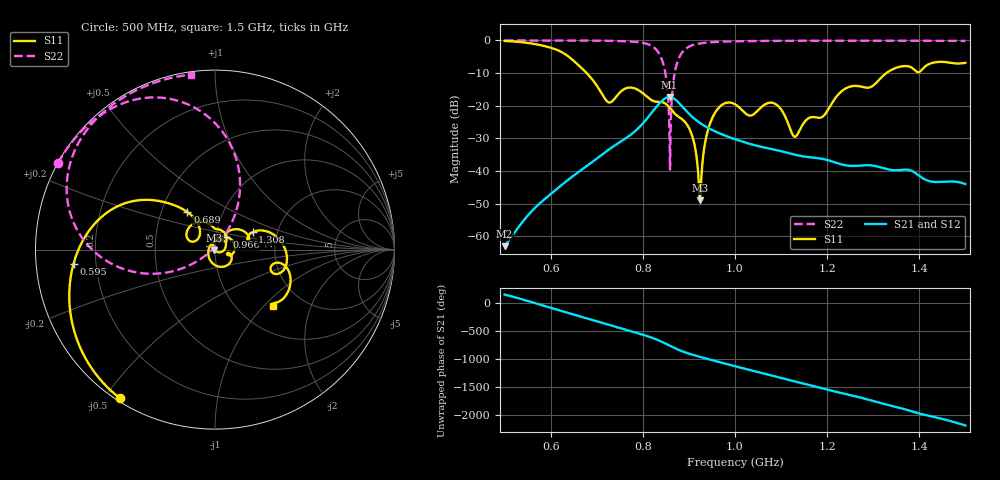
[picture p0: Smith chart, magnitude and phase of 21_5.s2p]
! TOUCHSTONE file generated by CST MICROWAVE STUDIO
! Date and time: Fri Oct  2 19:12:55 2020
! Project name: Scenario_1_Free_Space_out_of_line.cst
! Parameters = {Lambda=346.42; Step_1=17.321; dy1=0.82; dx1=866; L_HA=400; MT=2.54; Rad_Dielectric=30; Rad_Lower=7.3; Rad_Upper=30; a_HA=580; a_WG=246; b_HA=500; b_WG=121; c_HA=0; c_WG=187; d_feed=85; h_feed=15; h_lower=18; h_upper=40}
! Header version: 2018
! Port assignment regex: !\s*Touchstone port\s*([0-9]+)\s*=\s*(CST MWS port|CST DS port)\s*([0-9]+|Zmin|Zmax)\s*\(\"(.*)\"\)(\s*mode\s*([0-9]+))?.*
! Touchstone port assignment:
! Touchstone port 1 = CST MWS port 1 ("")
! Touchstone port 2 = CST MWS port 2 ("")
# GHz S DB R 50
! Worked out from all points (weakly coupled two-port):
!   1003 points, 500 MHz to 1.5 GHz, reference 50 ohm
!   highest |S21| = -17.34 dB at 858 MHz (marker M1); lowest = -63.0 dB at 500 MHz (marker M2)
!   lowest |S11| = -49.0 dB at 924 MHz (marker M3), VSWR 1.01, Z = 49.7 - j0.2 ohm
!   |S11| at or under -10 dB: 678.1 MHz to 1.329 GHz (650.4 MHz wide, 64.8 % of centre)
!   |S22| runs from -39.5 to 0.0 dB; largest |S21 - S12| = 1.4e-05
!   S11 on the Smith chart (normalised r, x): 500 MHz: 0.01, -0.55; 595 MHz: 0.12, -0.05; 689 MHz: 0.68, +0.30; 966 MHz: 1.12, +0.16; 1.308 GHz: 1.49, +0.30; 1.5 GHz: 1.43, -1.14
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0.5  -0.15 -122.6  -63.00 143.8  -63.00 143.8  -0.01 151.1
0.595  -2.03 -174.3  -47.63 -80.3  -47.63 -80.3  -0.02 144.5
0.667  -8.46 136.1  -39.62 108.7  -39.62 108.7  -0.04 138.3
0.689  -11.72 126.3  -37.34 57.2  -37.34 57.2  -0.06 136.0
0.726  -18.97 143.1  -33.41 -31.6  -33.41 -31.6  -0.12 131.4
0.772  -14.42 138.9  -29.06 -142.3  -29.06 -142.3  -0.32 122.6
0.834  -18.80 83.2  -19.57 51.1  -19.57 51.1  -3.72 86.0
0.848  -19.24 63.3  -17.77 -1.4  -17.77 -1.4  -9.34 66.2
0.858  -20.53 47.2  -17.34 -42.1  -17.34 -42.1  -29.89 65.1
0.878  -23.41 25.3  -19.09 -118.9  -19.09 -118.9  -5.51 -168.7
0.906  -28.77 -22.5  -23.24 160.2  -23.24 160.2  -1.54 165.3
0.924  -48.97 -145.6  -25.27 117.5  -25.27 117.5  -0.92 156.7
0.941  -27.58 99.4  -26.74 79.3  -26.74 79.3  -0.63 151.3
0.966  -20.42 48.2  -28.43 24.6  -28.43 24.6  -0.41 145.7
1  -19.55 -8.2  -30.25 -48.1  -30.25 -48.1  -0.26 140.2
1.033  -23.02 -18.5  -31.71 -117.4  -31.71 -117.4  -0.19 136.2
1.087  -19.40 -61.7  -33.48 130.4  -33.48 130.4  -0.13 130.9
1.13  -29.51 154.4  -34.99 41.2  -34.99 41.2  -0.11 127.2
1.167  -23.46 46.1  -35.85 -33.0  -35.85 -33.0  -0.10 124.2
1.308  -12.75 24.8  -38.56 35.9  -38.56 35.9  -0.09 113.4
1.334  -9.46 14.5  -39.54 -18.7  -39.54 -18.7  -0.09 111.5
1.5  -6.86 -44.2  -43.99 -19.8  -43.99 -19.9  -0.14 97.9
